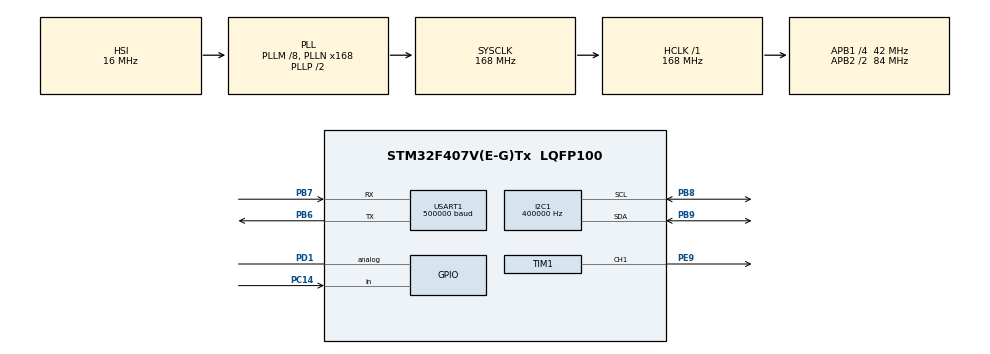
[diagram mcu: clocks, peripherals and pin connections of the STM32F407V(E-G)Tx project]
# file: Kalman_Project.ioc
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Mcu.Family=STM32F4
RCC.CortexFreq_Value=168000000
Dma.USART1_TX.3.MemInc=DMA_MINC_ENABLE
Dma.USART1_TX.3.MemDataAlignment=DMA_MDATAALIGN_BYTE
USART1.BaudRate=500000
Dma.I2C1_TX.1.Mode=DMA_NORMAL
Dma.USART1_RX.2.Instance=DMA2_Stream2
Dma.USART1_TX.3.Direction=DMA_MEMORY_TO_PERIPH
TIM1.Pulse-PWM\ Generation1\ CH1=999
RCC.SYSCLKSource=RCC_SYSCLKSOURCE_PLLCLK
ProjectManager.StackSize=0x400
Dma.I2C1_TX.1.Direction=DMA_MEMORY_TO_PERIPH
TIM1.Prescaler=167
Dma.USART1_TX.3.FIFOMode=DMA_FIFOMODE_DISABLE
I2C1.ClockSpeed=400000
RCC.HCLKFreq_Value=168000000
RCC.APB2TimFreq_Value=168000000
PB6.Signal=USART1_TX
Dma.USART1_TX.3.Mode=DMA_NORMAL
Dma.I2C1_RX.0.PeriphDataAlignment=DMA_PDATAALIGN_BYTE
PB6.Mode=Asynchronous
Dma.I2C1_TX.1.PeriphInc=DMA_PINC_DISABLE
RCC.AHBFreq_Value=168000000
Dma.I2C1_RX.0.Priority=DMA_PRIORITY_LOW
RCC.HSE_VALUE=25000000
PB3.Mode=Trace_Asynchronous_SW
Dma.I2C1_RX.0.Mode=DMA_NORMAL
TIM1.Channel-PWM\ Generation1\ CH1=TIM_CHANNEL_1
PE9.Signal=S_TIM1_CH1
PA14.Mode=Trace_Asynchronous_SW
Dma.USART1_TX.3.PeriphInc=DMA_PINC_DISABLE
PB7.Signal=USART1_RX
Dma.I2C1_RX.0.Direction=DMA_PERIPH_TO_MEMORY
VP_TIM1_VS_ClockSourceINT.Mode=Internal
Dma.USART1_TX.3.Instance=DMA2_Stream7
Mcu.Package=LQFP100
PB9.Signal=I2C1_SDA
NVIC.DMA2_Stream7_IRQn=true\:0\:0\:false\:false\:true\:false\:true
RCC.APB2CLKDivider=RCC_HCLK_DIV2
NVIC.DMA2_Stream2_IRQn=true\:0\:0\:false\:false\:true\:false\:true
Dma.Request2=USART1_RX
Dma.Request1=I2C1_TX
RCC.APB1TimFreq_Value=84000000
Dma.Request3=USART1_TX
NVIC.DMA1_Stream0_IRQn=true\:0\:0\:false\:false\:true\:false\:true
TIM1.Period=3999
NVIC.USART1_IRQn=true\:0\:0\:false\:false\:true\:true\:true
NVIC.DMA1_Stream6_IRQn=true\:0\:0\:false\:false\:true\:false\:true
Dma.Request0=I2C1_RX
Dma.USART1_RX.2.MemDataAlignment=DMA_MDATAALIGN_BYTE
Dma.I2C1_TX.1.PeriphDataAlignment=DMA_PDATAALIGN_BYTE
Dma.I2C1_RX.0.PeriphInc=DMA_PINC_DISABLE
Dma.I2C1_RX.0.MemDataAlignment=DMA_MDATAALIGN_BYTE
PD1.Signal=GPIO_Analog
RCC.APB1CLKDivider=RCC_HCLK_DIV4
PC14-OSC32_IN.Signal=GPIO_Input
Dma.USART1_RX.2.PeriphInc=DMA_PINC_DISABLE
PA13.Signal=SYS_JTMS-SWDIO
TIM1.AutoReloadPreload=TIM_AUTORELOAD_PRELOAD_ENABLE
SH.S_TIM1_CH1.0=TIM1_CH1,PWM Generation1 CH1
ProjectManager.TargetToolchain=STM32CubeIDE
I2C1.I2C_Mode=I2C_Fast
Dma.USART1_RX.2.Mode=DMA_CIRCULAR
Dma.USART1_RX.2.PeriphDataAlignment=DMA_PDATAALIGN_BYTE
PB9.Mode=I2C
Dma.USART1_TX.3.PeriphDataAlignment=DMA_PDATAALIGN_BYTE
Dma.I2C1_RX.0.MemInc=DMA_MINC_ENABLE
Dma.I2C1_TX.1.Instance=DMA1_Stream6
RCC.LSE_VALUE=32768
board=custom
Dma.USART1_RX.2.FIFOMode=DMA_FIFOMODE_DISABLE
RCC.VCOOutputFreq_Value=336000000
Dma.I2C1_TX.1.Priority=DMA_PRIORITY_LOW
Dma.USART1_RX.2.Priority=DMA_PRIORITY_LOW
Dma.I2C1_TX.1.FIFOMode=DMA_FIFOMODE_DISABLE
RCC.APB2Freq_Value=84000000
Dma.USART1_RX.2.Direction=DMA_PERIPH_TO_MEMORY
Dma.I2C1_TX.1.MemInc=DMA_MINC_ENABLE
Dma.I2C1_TX.1.MemDataAlignment=DMA_MDATAALIGN_BYTE
PA13.Mode=Trace_Asynchronous_SW
Mcu.Name=STM32F407V(E-G)Tx
Dma.USART1_RX.2.MemInc=DMA_MINC_ENABLE
Dma.USART1_TX.3.Priority=DMA_PRIORITY_LOW
RCC.48MHZClocksFreq_Value=84000000
PB3.Signal=SYS_JTDO-SWO
RCC.SYSCLKFreq_VALUE=168000000
USART1.VirtualMode=VM_ASYNC
PB7.Mode=Asynchronous
PA14.Signal=SYS_JTCK-SWCLK
ProjectManager.HeapSize=0x200
Dma.I2C1_RX.0.FIFOMode=DMA_FIFOMODE_DISABLE
RCC.HSI_VALUE=16000000
NVIC.PriorityGroup=NVIC_PRIORITYGROUP_4
RCC.PLLM=8
PB8.Mode=I2C
RCC.PLLN=168
PB8.Signal=I2C1_SCL
RCC.APB1Freq_Value=42000000
Dma.I2C1_RX.0.Instance=DMA1_Stream0

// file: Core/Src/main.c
/* USER CODE BEGIN Header */
/**
  ******************************************************************************
  * @file           : main.c
  * @brief          : Main program body
  ******************************************************************************
  * @attention
  *
  * <h2><center>&copy; Copyright (c) 2021 STMicroelectronics.
  * All rights reserved.</center></h2>
  *
  * This software component is licensed by ST under BSD 3-Clause license,
  * the "License"; You may not use this file except in compliance with the
  * License. You may obtain a copy of the License at:
  *                        opensource.org/licenses/BSD-3-Clause
  *
  ******************************************************************************
  */
/* USER CODE END Header */
#include "main.h"
#include "dma.h"
#include "i2c.h"
#include "tim.h"
#include "usart.h"
#include "gpio.h"

/* USER CODE BEGIN Includes */
#include "../OS/system_d.h"
#include "../OS/scheduler/scheduler.h"
#include "../OS/events/events.h"
#include "../High_lvl/High_lvl.h"
#include "../Data_Logger/Data_logger.h"
#include "../State_Space_Model/Model.h"
/* USER CODE END Includes */

/* USER CODE BEGIN PV */
system_t sys ;
/* USER CODE END PV */

void SystemClock_Config(void);

int main(void)
{

  /* MCU Configuration--------------------------------------------------------*/

  /* Reset of all peripherals, Initializes the Flash interface and the Systick. */
  HAL_Init();

  /* Configure the system clock */
  SystemClock_Config();

  /* Initialize all configured peripherals */
  MX_GPIO_Init();
  MX_DMA_Init();
  MX_I2C1_Init();
  MX_USART1_UART_Init();
  MX_TIM1_Init();
  /* USER CODE BEGIN 2 */
	HAL_Delay(200);	//Let the time for the components to start

	//Init du GYRO et de l ACC en utilisant un MPU6000
	MPU_init(&sys.sensors.mpu, &hi2c1);
	HAL_Delay(20);	//Let the time for the components to start
	GYRO_init(&sys.sensors.gyro, &sys.sensors.mpu, &sys.ss.z_array[MEASUREMENT_VECTOR_GYRO_Y]);
	HAL_Delay(20);	//Let the time for the components to start
	ACC_init(&sys.sensors.acc, &sys.sensors.mpu, &sys.ss.z_array[MEASUREMENT_VECTOR_ANGLE_Y]);

	ORIENTATION_Init(&sys.orientation, &sys.sensors.gyro, &sys.sensors.acc, GYRO_FREQUENCY);

	TELEMETRY_Init(&sys.telemetry, &huart1);
	DATA_LOGGER_Init(&sys);

	REGULATION_ORIENTATION_Init(&sys.regulation, &sys.orientation, sys.ss.u_array);
	HIGH_LVL_Init(&sys);
	MOTORS_Init(&sys.prop.motors, &htim1, sys.ss.u_array, MOTOR_DIRECTION_BIDIRECTIONAL, TRUE);

	MODEL_Init(&sys.ss, &sys.kalman);

	SCHEDULER_init(&sys);
	EVENT_init(&sys);

  /* USER CODE END 2 */

  /* Infinite loop */
  while (1)
  {

    /* USER CODE BEGIN 3 */
	  SCHEDULER_run();
  }
  /* USER CODE END 3 */
}

void SystemClock_Config(void)
{
  RCC_OscInitTypeDef RCC_OscInitStruct = {0};
  RCC_ClkInitTypeDef RCC_ClkInitStruct = {0};

  /** Configure the main internal regulator output voltage
  */
  __HAL_RCC_PWR_CLK_ENABLE();
  __HAL_PWR_VOLTAGESCALING_CONFIG(PWR_REGULATOR_VOLTAGE_SCALE1);
  /** Initializes the RCC Oscillators according to the specified parameters
  * in the RCC_OscInitTypeDef structure.
  */
  RCC_OscInitStruct.OscillatorType = RCC_OSCILLATORTYPE_HSI;
  RCC_OscInitStruct.HSIState = RCC_HSI_ON;
  RCC_OscInitStruct.HSICalibrationValue = RCC_HSICALIBRATION_DEFAULT;
  RCC_OscInitStruct.PLL.PLLState = RCC_PLL_ON;
  RCC_OscInitStruct.PLL.PLLSource = RCC_PLLSOURCE_HSI;
  RCC_OscInitStruct.PLL.PLLM = 8;
  RCC_OscInitStruct.PLL.PLLN = 168;
  RCC_OscInitStruct.PLL.PLLP = RCC_PLLP_DIV2;
  RCC_OscInitStruct.PLL.PLLQ = 4;
  if (HAL_RCC_OscConfig(&RCC_OscInitStruct) != HAL_OK)
  {
    Error_Handler();
  }
  /** Initializes the CPU, AHB and APB buses clocks
  */
  RCC_ClkInitStruct.ClockType = RCC_CLOCKTYPE_HCLK|RCC_CLOCKTYPE_SYSCLK
                              |RCC_CLOCKTYPE_PCLK1|RCC_CLOCKTYPE_PCLK2;
  RCC_ClkInitStruct.SYSCLKSource = RCC_SYSCLKSOURCE_PLLCLK;
  RCC_ClkInitStruct.AHBCLKDivider = RCC_SYSCLK_DIV1;
  RCC_ClkInitStruct.APB1CLKDivider = RCC_HCLK_DIV4;
  RCC_ClkInitStruct.APB2CLKDivider = RCC_HCLK_DIV2;

  if (HAL_RCC_ClockConfig(&RCC_ClkInitStruct, FLASH_LATENCY_5) != HAL_OK)
  {
    Error_Handler();
  }
}

void Error_Handler(void)
{
  __disable_irq();
  while (1)
  {
  }
}

/************************ (C) COPYRIGHT STMicroelectronics *****END OF FILE****/
